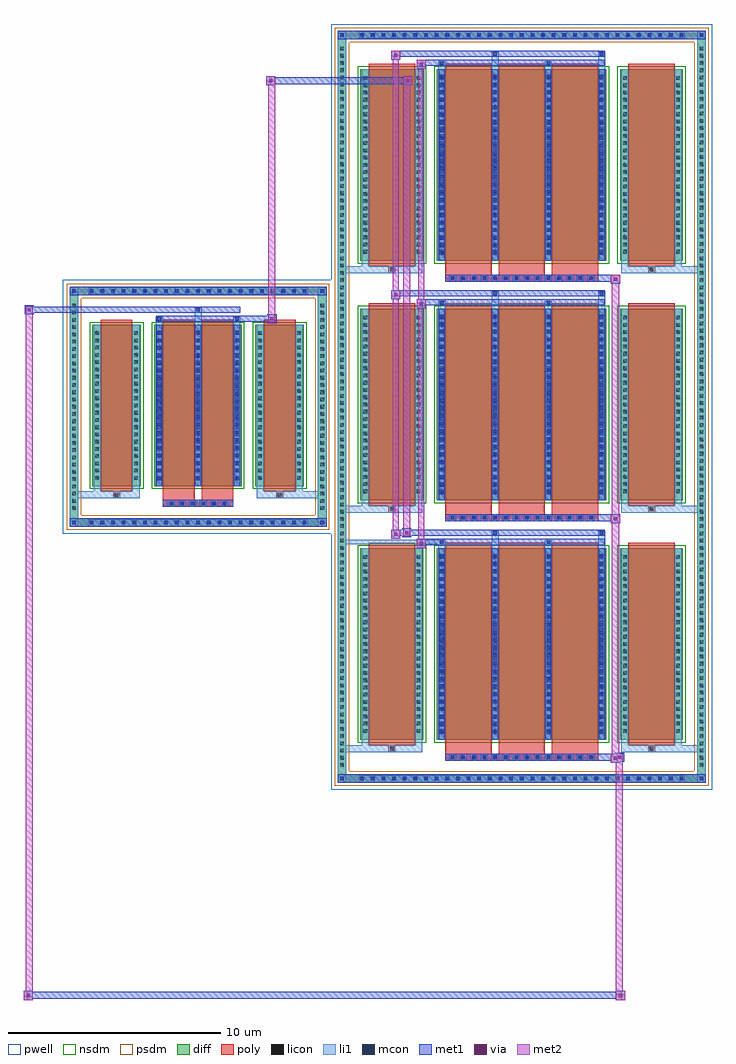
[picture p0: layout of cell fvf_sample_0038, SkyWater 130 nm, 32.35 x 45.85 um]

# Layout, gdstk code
import gdstk
lib = gdstk.Library(unit=1e-6, precision=1e-09)
def R(c, l, rs):  # rectangles x0, y0, x1, y1
    for r in rs: c.add(gdstk.rectangle(r[:2], r[2:], *l))
def A(c, l, x, y, w, h, nx, ny, dx, dy):  # array of equal rectangles
    R(c, l, [(x+i*dx, y+j*dy, x+i*dx+w, y+j*dy+h) for i in range(nx) for j in range(ny)])
def P(c, l, *ps):  # polygons
    for p in ps: c.add(gdstk.Polygon(p, *l))
pwell = (64, 44)
diff = (65, 20)
poly = (66, 20)
licon = (66, 44)
li1 = (67, 20)
mcon = (67, 44)
met1 = (68, 20)
via = (68, 44)
met2 = (69, 20)
nsdm = (93, 44)
psdm = (94, 20)

fvf_sample_0038 = lib.new_cell('fvf_sample_0038')
R(fvf_sample_0038, pwell, [(6.248,-17.98,24.158,17.98), (-6.348,-5.957,6.348,5.957)])
A(fvf_sample_0038, diff, 7.498, -17.67, 0.41, 0.41, 31, 2, 0.5, 34.93)
A(fvf_sample_0038, diff, 6.558, -17.035, 0.41, 0.41, 1, 100, 0, 0.34)
A(fvf_sample_0038, diff, 23.438, -17.035, 0.41, 0.41, 1, 100, 0, 0.34)
A(fvf_sample_0038, diff, 7.628, -15.649, 2.954, 9.008, 1, 3, 0, 11.253)
A(fvf_sample_0038, diff, 11.222, -15.649, 7.962, 9.008, 1, 3, 0, 11.253)
A(fvf_sample_0038, diff, 19.824, -15.649, 2.954, 9.008, 1, 3, 0, 11.253)
A(fvf_sample_0038, diff, -5.205, -5.647, 0.41, 0.41, 21, 2, 0.5, 10.884)
A(fvf_sample_0038, diff, -6.038, -4.965, 0.41, 0.41, 1, 29, 0, 0.34)
A(fvf_sample_0038, diff, 5.628, -4.965, 0.41, 0.41, 1, 29, 0, 0.34)
R(fvf_sample_0038, diff, [(7.498,-17.67,22.908,-17.26), (6.558,-17.035,6.968,17.035), (23.438,-17.035,23.848,17.035), (-5.205,-5.647,5.205,-5.237), (-6.038,-4.965,-5.628,4.965), (5.628,-4.965,6.038,4.965), (-4.967,-3.726,-2.691,3.842), (-2.051,-3.726,2.051,3.842), (2.691,-3.726,4.967,3.842), (-5.205,5.237,5.205,5.647), (7.498,17.26,22.908,17.67)])
P(fvf_sample_0038, diff, [(6.038,5.647),(-6.038,5.647),(-6.038,-5.237),(-5.628,-5.237),(-5.628,5.237),(5.628,5.237),(5.628,-5.237),(-5.628,-5.237),(-6.038,-5.237),(-6.038,-5.647),(6.038,-5.647)],
  [(23.848,17.67),(6.558,17.67),(6.558,-17.26),(6.968,-17.26),(6.968,17.26),(23.438,17.26),(23.438,-17.26),(6.968,-17.26),(6.558,-17.26),(6.558,-17.67),(23.848,-17.67)])
A(fvf_sample_0038, poly, 11.612, -16.629, 7.182, 0.33, 1, 3, 0, 11.253)
A(fvf_sample_0038, poly, 11.788, -16.629, 0.33, 0.33, 14, 3, 0.5, 11.253)
A(fvf_sample_0038, poly, 11.612, -16.299, 2.174, 0.4, 3, 3, 2.504, 11.253)
A(fvf_sample_0038, poly, 8.018, -15.899, 2.174, 9.508, 1, 3, 0, 11.253)
A(fvf_sample_0038, poly, 11.612, -15.899, 2.174, 9.508, 3, 3, 2.504, 11.253)
A(fvf_sample_0038, poly, 20.214, -15.899, 2.174, 9.508, 1, 3, 0, 11.253)
A(fvf_sample_0038, poly, -1.415, -4.706, 0.33, 0.33, 6, 1, 0.5, 0)
R(fvf_sample_0038, poly, [(8.94,-16.229,9.27,-15.899), (8.94,-16.229,9.27,-15.899), (21.136,-16.229,21.466,-15.899), (21.136,-16.229,21.466,-15.899), (8.94,-4.976,9.27,-4.646), (8.94,-4.976,9.27,-4.646), (21.136,-4.976,21.466,-4.646), (21.136,-4.976,21.466,-4.646), (-1.661,-4.706,1.661,-4.376), (-1.661,-4.376,-0.165,-3.976), (0.165,-4.376,1.661,-3.976), (-3.994,-4.306,-3.664,-3.976), (-3.994,-4.306,-3.664,-3.976), (3.664,-4.306,3.994,-3.976), (3.664,-4.306,3.994,-3.976), (-4.577,-3.976,-3.081,4.092), (-1.661,-3.976,-0.165,4.092), (0.165,-3.976,1.661,4.092), (3.081,-3.976,4.577,4.092), (8.94,6.277,9.27,6.607), (8.94,6.277,9.27,6.607), (21.136,6.277,21.466,6.607), (21.136,6.277,21.466,6.607)])
A(fvf_sample_0038, licon, 7.618, -17.55, 0.17, 0.17, 31, 2, 0.5, 34.93)
A(fvf_sample_0038, licon, 6.678, -16.915, 0.17, 0.17, 1, 100, 0, 0.34)
A(fvf_sample_0038, licon, 23.558, -16.915, 0.17, 0.17, 1, 100, 0, 0.34)
A(fvf_sample_0038, licon, 11.868, -16.549, 0.17, 0.17, 14, 3, 0.5, 11.253)
A(fvf_sample_0038, licon, 9.02, -16.149, 0.17, 0.17, 1, 3, 0, 11.253)
A(fvf_sample_0038, licon, 21.216, -16.149, 0.17, 0.17, 1, 3, 0, 11.253)
A(fvf_sample_0038, licon, 7.768, -15.31, 0.17, 0.17, 1, 25, 0, 0.34)
A(fvf_sample_0038, licon, 10.272, -15.31, 0.17, 0.17, 1, 25, 0, 0.34)
A(fvf_sample_0038, licon, 11.362, -15.31, 0.17, 0.17, 4, 25, 2.504, 0.34)
A(fvf_sample_0038, licon, 19.964, -15.31, 0.17, 0.17, 1, 25, 0, 0.34)
A(fvf_sample_0038, licon, 22.468, -15.31, 0.17, 0.17, 1, 25, 0, 0.34)
A(fvf_sample_0038, licon, -5.085, -5.527, 0.17, 0.17, 21, 2, 0.5, 10.884)
A(fvf_sample_0038, licon, -5.918, -4.845, 0.17, 0.17, 1, 29, 0, 0.34)
A(fvf_sample_0038, licon, 5.748, -4.845, 0.17, 0.17, 1, 29, 0, 0.34)
A(fvf_sample_0038, licon, -1.335, -4.626, 0.17, 0.17, 6, 1, 0.5, 0)
A(fvf_sample_0038, licon, 7.768, -4.057, 0.17, 0.17, 1, 25, 0, 0.34)
A(fvf_sample_0038, licon, 10.272, -4.057, 0.17, 0.17, 1, 25, 0, 0.34)
A(fvf_sample_0038, licon, 11.362, -4.057, 0.17, 0.17, 4, 25, 2.504, 0.34)
A(fvf_sample_0038, licon, 19.964, -4.057, 0.17, 0.17, 1, 25, 0, 0.34)
A(fvf_sample_0038, licon, 22.468, -4.057, 0.17, 0.17, 1, 25, 0, 0.34)
A(fvf_sample_0038, licon, -4.827, -3.427, 0.17, 0.17, 1, 21, 0, 0.34)
A(fvf_sample_0038, licon, -3.001, -3.427, 0.17, 0.17, 1, 21, 0, 0.34)
A(fvf_sample_0038, licon, -1.911, -3.427, 0.17, 0.17, 3, 21, 1.826, 0.34)
A(fvf_sample_0038, licon, 2.831, -3.427, 0.17, 0.17, 1, 21, 0, 0.34)
A(fvf_sample_0038, licon, 4.657, -3.427, 0.17, 0.17, 1, 21, 0, 0.34)
A(fvf_sample_0038, licon, 7.768, 7.196, 0.17, 0.17, 1, 25, 0, 0.34)
A(fvf_sample_0038, licon, 10.272, 7.196, 0.17, 0.17, 1, 25, 0, 0.34)
A(fvf_sample_0038, licon, 11.362, 7.196, 0.17, 0.17, 4, 25, 2.504, 0.34)
A(fvf_sample_0038, licon, 19.964, 7.196, 0.17, 0.17, 1, 25, 0, 0.34)
A(fvf_sample_0038, licon, 22.468, 7.196, 0.17, 0.17, 1, 25, 0, 0.34)
R(fvf_sample_0038, licon, [(-3.914,-4.226,-3.744,-4.056), (3.744,-4.226,3.914,-4.056)])
A(fvf_sample_0038, li1, 7.538, -17.63, 0.33, 0.33, 31, 2, 0.5, 34.93)
A(fvf_sample_0038, li1, 6.598, -16.995, 0.33, 0.33, 1, 100, 0, 0.34)
A(fvf_sample_0038, li1, 23.478, -16.995, 0.33, 0.33, 1, 100, 0, 0.34)
A(fvf_sample_0038, li1, 11.788, -16.629, 0.33, 0.33, 14, 3, 0.5, 11.253)
A(fvf_sample_0038, li1, 6.558, -16.229, 2.382, 0.33, 1, 3, 0, 11.253)
A(fvf_sample_0038, li1, 7.688, -16.229, 0.33, 0.58, 1, 3, 0, 11.253)
A(fvf_sample_0038, li1, 7.688, -16.229, 1.252, 0.33, 1, 3, 0, 11.253)
A(fvf_sample_0038, li1, 8.94, -16.229, 0.33, 0.33, 1, 3, 0, 11.253)
A(fvf_sample_0038, li1, 9.27, -16.229, 1.252, 0.33, 1, 3, 0, 11.253)
A(fvf_sample_0038, li1, 10.192, -16.229, 0.33, 0.58, 1, 3, 0, 11.253)
A(fvf_sample_0038, li1, 19.884, -16.229, 0.33, 0.58, 1, 3, 0, 11.253)
A(fvf_sample_0038, li1, 19.884, -16.229, 1.252, 0.33, 1, 3, 0, 11.253)
A(fvf_sample_0038, li1, 21.136, -16.229, 0.33, 0.33, 1, 3, 0, 11.253)
A(fvf_sample_0038, li1, 21.136, -16.229, 2.712, 0.33, 1, 3, 0, 11.253)
A(fvf_sample_0038, li1, 21.466, -16.229, 1.252, 0.33, 1, 3, 0, 11.253)
A(fvf_sample_0038, li1, 22.388, -16.229, 0.33, 0.58, 1, 3, 0, 11.253)
A(fvf_sample_0038, li1, 7.688, -15.649, 0.33, 9.008, 1, 3, 0, 11.253)
A(fvf_sample_0038, li1, 10.192, -15.649, 0.33, 9.008, 1, 3, 0, 11.253)
A(fvf_sample_0038, li1, 11.282, -15.649, 0.33, 9.008, 4, 3, 2.504, 11.253)
A(fvf_sample_0038, li1, 19.884, -15.649, 0.33, 9.008, 1, 3, 0, 11.253)
A(fvf_sample_0038, li1, 22.388, -15.649, 0.33, 9.008, 1, 3, 0, 11.253)
A(fvf_sample_0038, li1, 7.688, -15.39, 0.33, 0.33, 1, 25, 0, 0.34)
A(fvf_sample_0038, li1, 10.192, -15.39, 0.33, 0.33, 1, 25, 0, 0.34)
A(fvf_sample_0038, li1, 11.282, -15.39, 0.33, 0.33, 4, 25, 2.504, 0.34)
A(fvf_sample_0038, li1, 19.884, -15.39, 0.33, 0.33, 1, 25, 0, 0.34)
A(fvf_sample_0038, li1, 22.388, -15.39, 0.33, 0.33, 1, 25, 0, 0.34)
A(fvf_sample_0038, li1, 11.362, -15.37, 0.17, 0.17, 4, 24, 2.504, 0.36)
A(fvf_sample_0038, li1, 11.362, -15.37, 0.17, 8.45, 4, 3, 2.504, 11.253)
A(fvf_sample_0038, li1, 11.282, -6.641, 0.33, 0.375, 1, 3, 0, 11.253)
A(fvf_sample_0038, li1, 13.786, -6.641, 0.33, 0.805, 1, 3, 0, 11.253)
A(fvf_sample_0038, li1, 16.29, -6.641, 0.33, 0.375, 1, 3, 0, 11.253)
A(fvf_sample_0038, li1, 18.794, -6.641, 0.33, 0.805, 1, 3, 0, 11.253)
A(fvf_sample_0038, li1, 11.362, -6.436, 0.17, 0.17, 1, 3, 0, 11.253)
A(fvf_sample_0038, li1, 16.37, -6.436, 0.17, 0.17, 1, 3, 0, 11.253)
A(fvf_sample_0038, li1, 13.866, -6.006, 0.17, 0.17, 1, 3, 0, 11.253)
A(fvf_sample_0038, li1, 18.874, -6.006, 0.17, 0.17, 1, 3, 0, 11.253)
A(fvf_sample_0038, li1, -5.165, -5.607, 0.33, 0.33, 21, 2, 0.5, 10.884)
A(fvf_sample_0038, li1, -5.998, -4.925, 0.33, 0.33, 1, 29, 0, 0.34)
A(fvf_sample_0038, li1, 5.668, -4.925, 0.33, 0.33, 1, 29, 0, 0.34)
A(fvf_sample_0038, li1, -1.415, -4.706, 0.33, 0.33, 6, 1, 0.5, 0)
A(fvf_sample_0038, li1, 7.688, -4.137, 0.33, 0.33, 1, 25, 0, 0.34)
A(fvf_sample_0038, li1, 10.192, -4.137, 0.33, 0.33, 1, 25, 0, 0.34)
A(fvf_sample_0038, li1, 11.282, -4.137, 0.33, 0.33, 4, 25, 2.504, 0.34)
A(fvf_sample_0038, li1, 19.884, -4.137, 0.33, 0.33, 1, 25, 0, 0.34)
A(fvf_sample_0038, li1, 22.388, -4.137, 0.33, 0.33, 1, 25, 0, 0.34)
A(fvf_sample_0038, li1, 11.362, -4.117, 0.17, 0.17, 4, 24, 2.504, 0.36)
A(fvf_sample_0038, li1, -1.991, -3.726, 0.33, 7.568, 3, 1, 1.826, 0)
A(fvf_sample_0038, li1, -4.907, -3.507, 0.33, 0.33, 1, 21, 0, 0.34)
A(fvf_sample_0038, li1, -3.081, -3.507, 0.33, 0.33, 1, 21, 0, 0.34)
A(fvf_sample_0038, li1, -1.991, -3.507, 0.33, 0.33, 3, 21, 1.826, 0.34)
A(fvf_sample_0038, li1, 2.751, -3.507, 0.33, 0.33, 1, 21, 0, 0.34)
A(fvf_sample_0038, li1, 4.577, -3.507, 0.33, 0.33, 1, 21, 0, 0.34)
A(fvf_sample_0038, li1, -1.911, -3.447, 0.17, 0.17, 3, 20, 1.826, 0.36)
A(fvf_sample_0038, li1, -1.911, -3.447, 0.17, 7.01, 3, 1, 1.826, 0)
A(fvf_sample_0038, li1, 7.688, 7.116, 0.33, 0.33, 1, 25, 0, 0.34)
A(fvf_sample_0038, li1, 10.192, 7.116, 0.33, 0.33, 1, 25, 0, 0.34)
A(fvf_sample_0038, li1, 11.282, 7.116, 0.33, 0.33, 4, 25, 2.504, 0.34)
A(fvf_sample_0038, li1, 19.884, 7.116, 0.33, 0.33, 1, 25, 0, 0.34)
A(fvf_sample_0038, li1, 22.388, 7.116, 0.33, 0.33, 1, 25, 0, 0.34)
A(fvf_sample_0038, li1, 11.362, 7.136, 0.17, 0.17, 4, 24, 2.504, 0.36)
R(fvf_sample_0038, li1, [(6.558,-17.67,6.968,-17.26), (23.438,-17.67,23.848,-17.26), (7.538,-17.63,22.868,-17.3), (6.678,-17.55,6.848,-17.38), (6.678,-17.55,6.848,-17.38), (23.558,-17.55,23.728,-17.38), (23.558,-17.55,23.728,-17.38), (6.558,-17.26,6.968,17.26), (23.438,-17.26,23.848,17.26), (11.302,-6.496,11.592,-6.206), (6.558,-6.451,11.302,-6.251), (11.362,-6.436,11.532,-6.266), (-6.038,-5.647,-5.628,-5.237), (5.628,-5.647,6.038,-5.237), (-5.165,-5.607,5.165,-5.277), (-5.918,-5.527,-5.748,-5.357), (-5.918,-5.527,-5.748,-5.357), (5.748,-5.527,5.918,-5.357), (5.748,-5.527,5.918,-5.357), (-6.038,-5.237,-5.628,5.237), (5.628,-5.237,6.038,5.237), (-6.038,-4.306,-3.994,-3.976), (-4.907,-4.306,-3.994,-3.976), (-4.907,-4.306,-4.577,-3.726), (-3.994,-4.306,-3.664,-3.976), (-3.664,-4.306,-2.751,-3.976), (-3.081,-4.306,-2.751,-3.726), (2.751,-4.306,3.664,-3.976), (2.751,-4.306,3.081,-3.726), (3.664,-4.306,3.994,-3.976), (3.664,-4.306,6.038,-3.976), (3.994,-4.306,4.907,-3.976), (4.577,-4.306,4.907,-3.726), (-4.907,-3.726,-4.577,3.842), (-3.081,-3.726,-2.751,3.842), (2.751,-3.726,3.081,3.842), (4.577,-3.726,4.907,3.842), (-1.991,3.842,-1.661,4.217), (-0.165,3.842,0.165,4.647), (1.661,3.842,1.991,4.217), (-1.911,4.047,-1.741,4.217), (1.741,4.047,1.911,4.217), (-0.085,4.477,0.085,4.647), (-6.038,5.237,-5.628,5.647), (5.628,5.237,6.038,5.647), (-5.165,5.277,5.165,5.607), (-5.918,5.357,-5.748,5.527), (-5.918,5.357,-5.748,5.527), (5.748,5.357,5.918,5.527), (5.748,5.357,5.918,5.527), (6.558,17.26,6.968,17.67), (23.438,17.26,23.848,17.67), (7.538,17.3,22.868,17.63), (6.678,17.38,6.848,17.55), (6.678,17.38,6.848,17.55), (23.558,17.38,23.728,17.55), (23.558,17.38,23.728,17.55)])
A(fvf_sample_0038, mcon, 7.618, -17.55, 0.17, 0.17, 31, 2, 0.5, 34.93)
A(fvf_sample_0038, mcon, 11.868, -16.549, 0.17, 0.17, 14, 3, 0.5, 11.253)
A(fvf_sample_0038, mcon, 11.362, -15.37, 0.17, 0.17, 4, 24, 2.504, 0.36)
A(fvf_sample_0038, mcon, 11.362, -6.436, 0.17, 0.17, 1, 3, 0, 11.253)
A(fvf_sample_0038, mcon, 16.37, -6.436, 0.17, 0.17, 1, 3, 0, 11.253)
A(fvf_sample_0038, mcon, 13.866, -6.006, 0.17, 0.17, 1, 3, 0, 11.253)
A(fvf_sample_0038, mcon, 18.874, -6.006, 0.17, 0.17, 1, 3, 0, 11.253)
A(fvf_sample_0038, mcon, -5.085, -5.527, 0.17, 0.17, 21, 2, 0.5, 10.884)
A(fvf_sample_0038, mcon, -1.335, -4.626, 0.17, 0.17, 6, 1, 0.5, 0)
A(fvf_sample_0038, mcon, 11.362, -4.117, 0.17, 0.17, 4, 24, 2.504, 0.36)
A(fvf_sample_0038, mcon, -1.911, -3.447, 0.17, 0.17, 3, 20, 1.826, 0.36)
A(fvf_sample_0038, mcon, 11.362, 7.136, 0.17, 0.17, 4, 24, 2.504, 0.36)
R(fvf_sample_0038, mcon, [(6.678,-17.55,6.848,-17.38), (23.558,-17.55,23.728,-17.38), (11.362,-6.436,11.532,-6.266), (-5.918,-5.527,-5.748,-5.357), (5.748,-5.527,5.918,-5.357), (-1.911,4.047,-1.741,4.217), (1.741,4.047,1.911,4.217), (-0.085,4.477,0.085,4.647), (-5.918,5.357,-5.748,5.527), (5.748,5.357,5.918,5.527), (6.678,17.38,6.848,17.55), (23.558,17.38,23.728,17.55)])
A(fvf_sample_0038, met1, 7.558, -17.61, 0.29, 0.29, 31, 2, 0.5, 34.93)
A(fvf_sample_0038, met1, 11.612, -16.629, 7.182, 0.33, 1, 3, 0, 11.253)
A(fvf_sample_0038, met1, 11.808, -16.609, 0.29, 0.29, 14, 3, 0.5, 11.253)
A(fvf_sample_0038, met1, 11.302, -15.649, 0.29, 9.008, 4, 3, 2.504, 11.253)
A(fvf_sample_0038, met1, 11.302, -15.43, 0.29, 0.29, 4, 24, 2.504, 0.36)
A(fvf_sample_0038, met1, 11.302, -6.496, 0.29, 0.29, 1, 3, 0, 11.253)
A(fvf_sample_0038, met1, 16.31, -6.496, 0.29, 0.29, 1, 3, 0, 11.253)
A(fvf_sample_0038, met1, 13.806, -6.066, 0.29, 0.29, 1, 3, 0, 11.253)
A(fvf_sample_0038, met1, 18.814, -6.066, 0.29, 0.29, 1, 3, 0, 11.253)
A(fvf_sample_0038, met1, -5.145, -5.587, 0.29, 0.29, 21, 2, 0.5, 10.884)
A(fvf_sample_0038, met1, -1.395, -4.686, 0.29, 0.29, 6, 1, 0.5, 0)
A(fvf_sample_0038, met1, 11.302, -4.177, 0.29, 0.29, 4, 24, 2.504, 0.36)
A(fvf_sample_0038, met1, -1.971, -3.726, 0.29, 7.568, 3, 1, 1.826, 0)
A(fvf_sample_0038, met1, -1.971, -3.507, 0.29, 0.29, 3, 20, 1.826, 0.36)
A(fvf_sample_0038, met1, 11.302, 7.076, 0.29, 0.29, 4, 24, 2.504, 0.36)
R(fvf_sample_0038, met1, [(-8.193,-27.868,-7.763,-27.438), (19.629,-27.868,20.059,-27.438), (-8.193,-27.818,20.059,-27.488), (-8.193,-27.488,-7.763,-27.438), (19.629,-27.488,20.059,-27.438), (6.558,-17.67,6.968,-17.26), (6.558,-17.67,6.968,-17.26), (6.968,-17.67,23.438,-17.26), (23.438,-17.67,23.848,-17.26), (23.438,-17.67,23.848,-17.26), (6.618,-17.61,6.908,-17.32), (23.498,-17.61,23.788,-17.32), (19.394,-16.729,19.824,-16.299), (19.579,-16.679,20.009,-16.249), (18.794,-16.629,19.579,-16.299), (18.794,-16.629,19.824,-16.299), (10.272,-6.636,10.702,-6.206), (10.272,-6.496,11.302,-6.206), (11.302,-6.496,11.592,-6.206), (11.302,-6.496,19.104,-6.206), (9.072,-6.206,9.502,-5.776), (9.587,-6.136,10.017,-5.706), (9.072,-6.066,11.302,-5.776), (10.017,-6.066,11.302,-5.776), (11.302,-6.066,19.104,-5.776), (-6.038,-5.647,-5.628,-5.237), (-6.038,-5.647,-5.628,-5.237), (-5.628,-5.647,5.628,-5.237), (5.628,-5.647,6.038,-5.237), (5.628,-5.647,6.038,-5.237), (-5.978,-5.587,-5.688,-5.297), (5.688,-5.587,5.978,-5.297), (19.394,-5.476,19.824,-5.046), (19.394,-5.476,19.824,-5.046), (18.794,-5.376,19.824,-5.046), (18.794,-5.376,19.824,-5.046), (-1.661,-4.706,1.661,-4.376), (3.256,3.917,3.686,4.347), (-1.971,3.987,-1.681,4.277), (-1.971,3.987,1.971,4.277), (1.681,3.987,1.971,4.277), (1.971,3.987,3.256,4.277), (-8.143,4.347,-7.713,4.777), (-7.713,4.417,-1.971,4.707), (-1.971,4.417,1.971,4.707), (-0.145,4.417,0.145,4.707), (10.272,4.617,10.702,5.047), (10.272,4.617,10.702,5.047), (10.272,4.757,11.302,5.047), (10.272,4.757,11.302,5.047), (11.302,4.757,19.104,5.047), (9.072,5.047,9.502,5.477), (9.072,5.047,9.502,5.477), (9.072,5.187,11.302,5.477), (9.072,5.187,11.302,5.477), (11.302,5.187,19.104,5.477), (-6.038,5.237,-5.628,5.647), (-6.038,5.237,-5.628,5.647), (-5.628,5.237,5.628,5.647), (5.628,5.237,6.038,5.647), (5.628,5.237,6.038,5.647), (-5.978,5.297,-5.688,5.587), (5.688,5.297,5.978,5.587), (19.394,5.777,19.824,6.207), (18.794,5.877,19.824,6.207), (3.206,15.106,3.636,15.536), (9.637,15.106,10.067,15.536), (3.206,15.156,10.067,15.486), (3.206,15.486,3.636,15.536), (9.637,15.486,10.067,15.536), (10.272,15.87,10.702,16.3), (10.272,16.01,11.302,16.3), (11.302,16.01,19.104,16.3), (9.072,16.3,9.502,16.73), (9.072,16.44,11.302,16.73), (11.302,16.44,19.104,16.73), (6.558,17.26,6.968,17.67), (6.558,17.26,6.968,17.67), (6.968,17.26,23.438,17.67), (23.438,17.26,23.848,17.67), (23.438,17.26,23.848,17.67), (6.618,17.32,6.908,17.61), (23.498,17.32,23.788,17.61)])
R(fvf_sample_0038, via, [(-8.053,-27.728,-7.903,-27.578), (19.769,-27.728,19.919,-27.578), (19.534,-16.589,19.684,-16.439), (19.719,-16.539,19.869,-16.389), (10.412,-6.496,10.562,-6.346), (9.212,-6.066,9.362,-5.916), (9.727,-5.996,9.877,-5.846), (19.534,-5.336,19.684,-5.186), (19.534,-5.336,19.684,-5.186), (3.396,4.057,3.546,4.207), (-8.003,4.487,-7.853,4.637), (10.412,4.757,10.562,4.907), (10.412,4.757,10.562,4.907), (9.212,5.187,9.362,5.337), (9.212,5.187,9.362,5.337), (19.534,5.917,19.684,6.067), (3.346,15.246,3.496,15.396), (9.777,15.246,9.927,15.396), (10.412,16.01,10.562,16.16), (9.212,16.44,9.362,16.59)])
R(fvf_sample_0038, met2, [(-8.193,-27.868,-7.763,-27.438), (-8.093,-27.868,-7.763,4.397), (19.629,-27.868,20.059,-27.438), (19.629,-27.868,19.959,-16.629), (-8.143,-27.818,-7.813,-27.488), (19.679,-27.818,20.009,-27.488), (19.394,-16.729,19.824,-16.299), (19.444,-16.729,19.774,-5.046), (19.774,-16.729,19.824,-16.299), (19.444,-16.679,19.774,-16.349), (19.629,-16.629,19.959,-16.299), (10.272,-6.636,10.702,-6.206), (10.342,-6.636,10.632,5.047), (10.632,-6.636,10.702,-6.206), (10.322,-6.586,10.652,-6.256), (9.072,-6.206,9.502,-5.776), (9.142,-6.206,9.432,5.477), (9.432,-6.206,9.502,-5.776), (9.122,-6.156,9.452,-5.826), (9.637,-6.086,9.967,-5.756), (9.637,-5.756,9.967,15.536), (19.394,-5.476,19.824,-5.046), (19.394,-5.476,19.824,-5.046), (19.444,-5.476,19.774,6.207), (19.774,-5.476,19.824,-5.046), (19.774,-5.476,19.824,-5.046), (19.444,-5.426,19.774,-5.096), (19.444,-5.426,19.774,-5.096), (3.306,3.967,3.636,4.297), (3.306,4.297,3.636,15.536), (-8.093,4.397,-7.763,4.727), (10.272,4.617,10.702,5.047), (10.272,4.617,10.702,5.047), (10.342,4.617,10.632,16.3), (10.632,4.617,10.702,5.047), (10.632,4.617,10.702,5.047), (10.322,4.667,10.652,4.997), (10.322,4.667,10.652,4.997), (9.072,5.047,9.502,5.477), (9.072,5.047,9.502,5.477), (9.142,5.047,9.432,16.73), (9.432,5.047,9.502,5.477), (9.432,5.047,9.502,5.477), (9.122,5.097,9.452,5.427), (9.122,5.097,9.452,5.427), (19.394,5.777,19.824,6.207), (19.774,5.777,19.824,6.207), (19.444,5.827,19.774,6.157), (3.206,15.106,3.636,15.536), (9.637,15.106,10.067,15.536), (3.256,15.156,3.586,15.486), (9.687,15.156,10.017,15.486), (10.272,15.87,10.702,16.3), (10.632,15.87,10.702,16.3), (10.322,15.92,10.652,16.25), (9.072,16.3,9.502,16.73), (9.432,16.3,9.502,16.73), (9.122,16.35,9.452,16.68)])
A(fvf_sample_0038, nsdm, 7.498, -15.779, 3.214, 9.268, 1, 3, 0, 11.253)
A(fvf_sample_0038, nsdm, 11.092, -15.779, 8.222, 9.268, 1, 3, 0, 11.253)
A(fvf_sample_0038, nsdm, 19.694, -15.779, 3.214, 9.268, 1, 3, 0, 11.253)
R(fvf_sample_0038, nsdm, [(-5.097,-3.856,-2.561,3.972), (-2.181,-3.856,2.181,3.972), (2.561,-3.856,5.097,3.972)])
P(fvf_sample_0038, psdm, [(6.168,5.777),(-6.168,5.777),(-6.168,-5.107),(-5.498,-5.107),(-5.498,5.107),(5.498,5.107),(5.498,-5.107),(-5.498,-5.107),(-6.168,-5.107),(-6.168,-5.777),(6.168,-5.777)],
  [(23.978,17.8),(6.428,17.8),(6.428,-17.13),(7.098,-17.13),(7.098,17.13),(23.308,17.13),(23.308,-17.13),(7.098,-17.13),(6.428,-17.13),(6.428,-17.8),(23.978,-17.8)])

lib.write_gds('fvf_sample_0038.gds')
